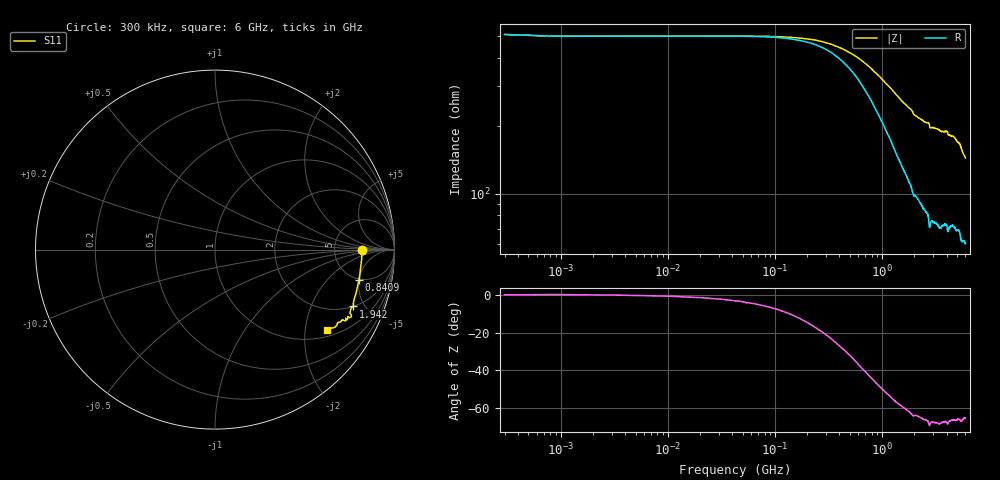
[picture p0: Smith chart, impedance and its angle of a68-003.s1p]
!  3/12/2021  05:52:13
! Ref Plane: 23.990 mm
# MHZ S MA R  50
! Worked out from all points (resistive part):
!   10001 points, 300 kHz to 6 GHz, reference 50 ohm
!   read as one part to ground: R = 499 ohm at 30.3 MHz
!   S11 on the Smith chart (normalised r, x): 300 kHz: 10, +0; 840.9 MHz: 4.88, -4.97; 1.942 GHz: 2.00, -4.12; 6 GHz: 1.20, -2.61
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0.3  0.8205 0.0
750.2625  0.8193 -10.6
840.858  0.819 -11.8
1114.444  0.8204 -15.0
1500.225  0.8226 -18.8
1942.403  0.8319 -22.4
2017.999  0.8261 -23.0
2250.188  0.8271 -24.0
2680.966  0.835 -25.4
2744.563  0.8449 -25.9
2793.76  0.84 -26.8
2849.557  0.8308 -26.9
3000.15  0.831 -26.8
3408.73  0.8334 -27.5
3512.524  0.8306 -27.8
3750.113  0.8244 -27.8
4006.3  0.8244 -27.8
4071.696  0.8304 -28.0
4122.694  0.8273 -28.6
4189.891  0.8196 -28.8
4500.075  0.8108 -28.9
4759.862  0.8092 -29.4
5078.446  0.7977 -30.6
5250.038  0.7961 -31.0
5391.63  0.7992 -31.7
5529.623  0.7947 -33.0
5739.613  0.7772 -34.4
6000  0.7678 -35.7
